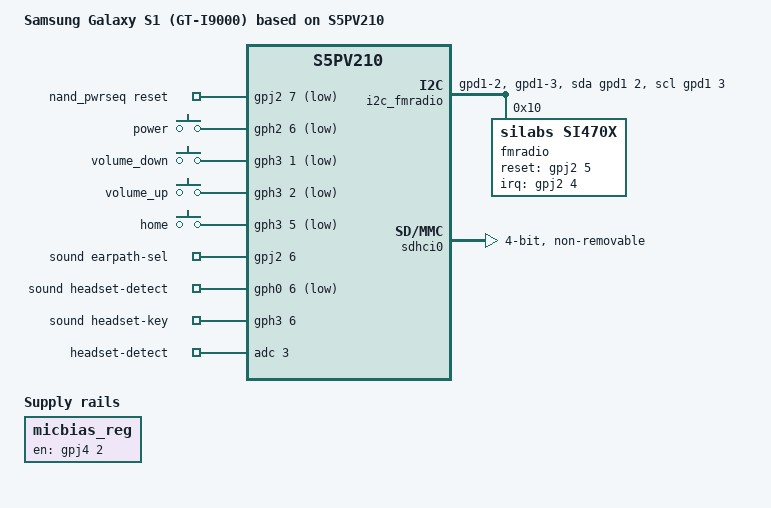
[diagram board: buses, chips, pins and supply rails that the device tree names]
// SPDX-License-Identifier: GPL-2.0

/dts-v1/;
#include <dt-bindings/gpio/gpio.h>
#include <dt-bindings/input/input.h>
#include "s5pv210-aries.dtsi"

/ {
	model = "Samsung Galaxy S1 (GT-I9000) based on S5PV210";
	compatible = "samsung,galaxys", "samsung,aries", "samsung,s5pv210";
	chassis-type = "handset";

	chosen {
		stdout-path = &uart2;
	};

	nand_pwrseq: nand-pwrseq {
		compatible = "mmc-pwrseq-simple";
		reset-gpios = <&gpj2 7 GPIO_ACTIVE_LOW>;
		pinctrl-names = "default";
		pinctrl-0 = <&massmemory_en>;
	};

	gpio-keys {
		compatible = "gpio-keys";

		key-power {
			label = "power";
			gpios = <&gph2 6 GPIO_ACTIVE_LOW>;
			linux,code = <KEY_POWER>;
			wakeup-source;
		};

		key-vol-down {
			label = "volume_down";
			gpios = <&gph3 1 GPIO_ACTIVE_LOW>;
			linux,code = <KEY_VOLUMEDOWN>;
		};

		key-vol-up {
			label = "volume_up";
			gpios = <&gph3 2 GPIO_ACTIVE_LOW>;
			linux,code = <KEY_VOLUMEUP>;
		};

		key-home {
			label = "home";
			gpios = <&gph3 5 GPIO_ACTIVE_LOW>;
			linux,code = <KEY_HOME>;
			wakeup-source;
		};
	};

	i2c_fmradio: i2c-gpio-8 {
		compatible = "i2c-gpio";
		sda-gpios = <&gpd1 2 (GPIO_ACTIVE_HIGH | GPIO_OPEN_DRAIN)>;
		scl-gpios = <&gpd1 3 (GPIO_ACTIVE_HIGH | GPIO_OPEN_DRAIN)>;
		i2c-gpio,delay-us = <2>;
		#address-cells = <1>;
		#size-cells = <0>;

		pinctrl-names = "default";
		pinctrl-0 = <&fm_i2c_pins>;

		fmradio@10 {
			compatible = "silabs,si470x";
			reg = <0x10>;
			interrupt-parent = <&gpj2>;
			interrupts = <4 IRQ_TYPE_EDGE_FALLING>;
			reset-gpios = <&gpj2 5 GPIO_ACTIVE_HIGH>;

			pinctrl-names = "default";
			pinctrl-0 = <&fm_irq &fm_rst>;
		};
	};

	micbias_reg: regulator-fixed-3 {
		compatible = "regulator-fixed";
		regulator-name = "MICBIAS";
		gpio = <&gpj4 2 GPIO_ACTIVE_HIGH>;
		enable-active-high;

		pinctrl-names = "default";
		pinctrl-0 = <&micbias_reg_ena>;
	};

	sound {
		compatible = "samsung,aries-wm8994";

		model = "Aries";

		extcon = <&fsa9480>;

		main-micbias-supply = <&micbias_reg>;
		headset-micbias-supply = <&micbias_reg>;

		earpath-sel-gpios = <&gpj2 6 GPIO_ACTIVE_HIGH>;

		io-channels = <&adc 3>;
		io-channel-names = "headset-detect";
		headset-detect-gpios = <&gph0 6 GPIO_ACTIVE_LOW>;
		headset-key-gpios = <&gph3 6 GPIO_ACTIVE_HIGH>;

		samsung,audio-routing =
			"HP", "HPOUT1L",
			"HP", "HPOUT1R",

			"SPK", "SPKOUTLN",
			"SPK", "SPKOUTLP",

			"RCV", "HPOUT2N",
			"RCV", "HPOUT2P",

			"LINE", "LINEOUT2N",
			"LINE", "LINEOUT2P",

			"IN1LP", "Main Mic",
			"IN1LN", "Main Mic",

			"IN1RP", "Headset Mic",
			"IN1RN", "Headset Mic",

			"IN2LN", "FM In",
			"IN2RN", "FM In",

			"Modem Out", "Modem TX",
			"Modem RX", "Modem In",

			"Bluetooth SPK", "TX",
			"RX", "Bluetooth Mic";

		pinctrl-names = "default";
		pinctrl-0 = <&headset_det &earpath_sel>;

		cpu {
			sound-dai = <&i2s0>, <&bt_codec>;
		};

		codec {
			sound-dai = <&wm8994>;
		};
	};
};

&aliases {
	i2c8 = &i2c_fmradio;
};

&pinctrl0 {
	pinctrl-names = "default";
	pinctrl-0 = <&sleep_cfg>;

	fm_i2c_pins: fm-i2c-pins-pins {
		samsung,pins = "gpd1-2", "gpd1-3";
		samsung,pin-pud = <S5PV210_PIN_PULL_NONE>;
		samsung,pin-drv = <S5PV210_PIN_DRV_LV1>;
	};

	headset_det: headset-det-pins {
		samsung,pins = "gph0-6", "gph3-6";
		samsung,pin-function = <S5PV210_PIN_FUNC_F>;
		samsung,pin-pud = <S5PV210_PIN_PULL_NONE>;
	};

	fm_irq: fm-irq-pins {
		samsung,pins = "gpj2-4";
		samsung,pin-function = <S5PV210_PIN_FUNC_INPUT>;
		samsung,pin-pud = <S5PV210_PIN_PULL_UP>;
		samsung,pin-drv = <S5PV210_PIN_DRV_LV1>;
	};

	fm_rst: fm-rst-pins {
		samsung,pins = "gpj2-5";
		samsung,pin-function = <S5PV210_PIN_FUNC_OUTPUT>;
		samsung,pin-pud = <S5PV210_PIN_PULL_NONE>;
		samsung,pin-drv = <S5PV210_PIN_DRV_LV1>;
	};

	earpath_sel: earpath-sel-pins {
		samsung,pins = "gpj2-6";
		samsung,pin-pud = <S5PV210_PIN_PULL_NONE>;
		samsung,pin-drv = <S5PV210_PIN_DRV_LV1>;
	};

	massmemory_en: massmemory-en-pins {
		samsung,pins = "gpj2-7";
		samsung,pin-function = <S5PV210_PIN_FUNC_OUTPUT>;
		samsung,pin-pud = <S5PV210_PIN_PULL_NONE>;
		samsung,pin-drv = <S5PV210_PIN_DRV_LV1>;
	};

	micbias_reg_ena: micbias-reg-ena-pins {
		samsung,pins = "gpj4-2";
		samsung,pin-pud = <S5PV210_PIN_PULL_NONE>;
		samsung,pin-drv = <S5PV210_PIN_DRV_LV1>;
	};

	/* Based on CyanogenMod 3.0.101 kernel */
	sleep_cfg: sleep-state {
		PIN_SLP(gpa0-0, PREV, NONE);
		PIN_SLP(gpa0-1, PREV, NONE);
		PIN_SLP(gpa0-2, PREV, NONE);
		PIN_SLP(gpa0-3, OUT1, NONE);
		PIN_SLP(gpa0-4, INPUT, DOWN);
		PIN_SLP(gpa0-5, OUT0, NONE);
		PIN_SLP(gpa0-6, INPUT, DOWN);
		PIN_SLP(gpa0-7, OUT1, NONE);

		PIN_SLP(gpa1-0, INPUT, DOWN);
		PIN_SLP(gpa1-1, OUT0, NONE);
		PIN_SLP(gpa1-2, INPUT, NONE);
		PIN_SLP(gpa1-3, OUT0, NONE);

		PIN_SLP(gpb-0, OUT0, NONE);
		PIN_SLP(gpb-1, OUT1, NONE);
		PIN_SLP(gpb-2, OUT0, NONE);
		PIN_SLP(gpb-3, PREV, NONE);
		PIN_SLP(gpb-4, INPUT, NONE);
		PIN_SLP(gpb-5, PREV, NONE);
		PIN_SLP(gpb-6, INPUT, DOWN);
		PIN_SLP(gpb-7, OUT0, NONE);

		PIN_SLP(gpc0-0, OUT0, NONE);
		PIN_SLP(gpc0-1, INPUT, DOWN);
		PIN_SLP(gpc0-2, OUT0, NONE);
		PIN_SLP(gpc0-3, INPUT, NONE);
		PIN_SLP(gpc0-4, OUT0, NONE);

		PIN_SLP(gpc1-0, INPUT, DOWN);
		PIN_SLP(gpc1-1, INPUT, DOWN);
		PIN_SLP(gpc1-2, INPUT, DOWN);
		PIN_SLP(gpc1-3, INPUT, DOWN);
		PIN_SLP(gpc1-4, INPUT, DOWN);

		PIN_SLP(gpd0-0, INPUT, DOWN);
		PIN_SLP(gpd0-1, OUT0, NONE);
		PIN_SLP(gpd0-2, INPUT, DOWN);
		PIN_SLP(gpd0-3, INPUT, DOWN);

		PIN_SLP(gpd1-0, INPUT, NONE);
		PIN_SLP(gpd1-1, INPUT, NONE);
		PIN_SLP(gpd1-2, INPUT, NONE);
		PIN_SLP(gpd1-3, INPUT, NONE);
		PIN_SLP(gpd1-4, INPUT, DOWN);
		PIN_SLP(gpd1-5, INPUT, DOWN);

		PIN_SLP(gpe0-0, INPUT, DOWN);
		PIN_SLP(gpe0-1, INPUT, DOWN);
		PIN_SLP(gpe0-2, INPUT, DOWN);
		PIN_SLP(gpe0-3, INPUT, DOWN);
		PIN_SLP(gpe0-4, INPUT, DOWN);
		PIN_SLP(gpe0-5, INPUT, DOWN);
		PIN_SLP(gpe0-6, INPUT, DOWN);
		PIN_SLP(gpe0-7, INPUT, DOWN);

		PIN_SLP(gpe1-0, INPUT, DOWN);
		PIN_SLP(gpe1-1, INPUT, DOWN);
		PIN_SLP(gpe1-2, INPUT, DOWN);
		PIN_SLP(gpe1-3, OUT0, NONE);
		PIN_SLP(gpe1-4, INPUT, DOWN);

		PIN_SLP(gpf0-0, OUT0, NONE);
		PIN_SLP(gpf0-1, OUT0, NONE);
		PIN_SLP(gpf0-2, OUT0, NONE);
		PIN_SLP(gpf0-3, OUT0, NONE);
		PIN_SLP(gpf0-4, OUT0, NONE);
		PIN_SLP(gpf0-5, OUT0, NONE);
		PIN_SLP(gpf0-6, OUT0, NONE);
		PIN_SLP(gpf0-7, OUT0, NONE);

		PIN_SLP(gpf1-0, OUT0, NONE);
		PIN_SLP(gpf1-1, OUT0, NONE);
		PIN_SLP(gpf1-2, OUT0, NONE);
		PIN_SLP(gpf1-3, OUT0, NONE);
		PIN_SLP(gpf1-4, OUT0, NONE);
		PIN_SLP(gpf1-5, OUT0, NONE);
		PIN_SLP(gpf1-6, OUT0, NONE);
		PIN_SLP(gpf1-7, OUT0, NONE);

		PIN_SLP(gpf2-0, OUT0, NONE);
		PIN_SLP(gpf2-1, OUT0, NONE);
		PIN_SLP(gpf2-2, OUT0, NONE);
		PIN_SLP(gpf2-3, OUT0, NONE);
		PIN_SLP(gpf2-4, OUT0, NONE);
		PIN_SLP(gpf2-5, OUT0, NONE);
		PIN_SLP(gpf2-6, OUT0, NONE);
		PIN_SLP(gpf2-7, OUT0, NONE);

		PIN_SLP(gpf3-0, OUT0, NONE);
		PIN_SLP(gpf3-1, OUT0, NONE);
		PIN_SLP(gpf3-2, OUT0, NONE);
		PIN_SLP(gpf3-3, OUT0, NONE);
		PIN_SLP(gpf3-4, PREV, NONE);
		PIN_SLP(gpf3-5, INPUT, DOWN);

		PIN_SLP(gpg0-0, OUT0, NONE);
		PIN_SLP(gpg0-1, INPUT, NONE);
		PIN_SLP(gpg0-2, INPUT, NONE);
		PIN_SLP(gpg0-3, INPUT, NONE);
		PIN_SLP(gpg0-4, INPUT, NONE);
		PIN_SLP(gpg0-5, INPUT, NONE);
		PIN_SLP(gpg0-6, INPUT, NONE);

		PIN_SLP(gpg1-0, OUT0, NONE);
		PIN_SLP(gpg1-1, OUT1, NONE);
		PIN_SLP(gpg1-2, PREV, NONE);
		PIN_SLP(gpg1-3, OUT1, NONE);
		PIN_SLP(gpg1-4, OUT1, NONE);
		PIN_SLP(gpg1-5, OUT1, NONE);
		PIN_SLP(gpg1-6, OUT1, NONE);

		PIN_SLP(gpg2-0, OUT0, NONE);
		PIN_SLP(gpg2-1, OUT0, NONE);
		PIN_SLP(gpg2-2, INPUT, NONE);
		PIN_SLP(gpg2-3, OUT0, NONE);
		PIN_SLP(gpg2-4, OUT0, NONE);
		PIN_SLP(gpg2-5, OUT0, NONE);
		PIN_SLP(gpg2-6, OUT0, NONE);

		PIN_SLP(gpg3-0, OUT1, NONE);
		PIN_SLP(gpg3-1, OUT0, NONE);
		PIN_SLP(gpg3-2, INPUT, NONE);
		PIN_SLP(gpg3-3, INPUT, DOWN);
		PIN_SLP(gpg3-4, OUT0, NONE);
		PIN_SLP(gpg3-5, OUT0, NONE);
		PIN_SLP(gpg3-6, INPUT, DOWN);

		PIN_SLP(gpi-0, PREV, NONE);
		PIN_SLP(gpi-1, INPUT, DOWN);
		PIN_SLP(gpi-2, PREV, NONE);
		PIN_SLP(gpi-3, PREV, NONE);
		PIN_SLP(gpi-4, PREV, NONE);
		PIN_SLP(gpi-5, INPUT, DOWN);
		PIN_SLP(gpi-6, INPUT, DOWN);

		PIN_SLP(gpj0-0, INPUT, NONE);
		PIN_SLP(gpj0-1, INPUT, NONE);
		PIN_SLP(gpj0-2, INPUT, NONE);
		PIN_SLP(gpj0-3, INPUT, NONE);
		PIN_SLP(gpj0-4, INPUT, NONE);
		PIN_SLP(gpj0-5, INPUT, DOWN);
		PIN_SLP(gpj0-6, OUT0, NONE);
		PIN_SLP(gpj0-7, INPUT, NONE);

		PIN_SLP(gpj1-0, INPUT, DOWN);
		PIN_SLP(gpj1-1, OUT0, NONE);
		PIN_SLP(gpj1-2, INPUT, DOWN);
		PIN_SLP(gpj1-3, PREV, NONE);
		PIN_SLP(gpj1-4, PREV, NONE);
		PIN_SLP(gpj1-5, OUT0, NONE);

		PIN_SLP(gpj2-0, INPUT, DOWN);
		PIN_SLP(gpj2-1, INPUT, DOWN);
		PIN_SLP(gpj2-2, OUT0, NONE);
		PIN_SLP(gpj2-3, INPUT, DOWN);
		PIN_SLP(gpj2-4, INPUT, UP);
		PIN_SLP(gpj2-5, PREV, NONE);
		PIN_SLP(gpj2-6, PREV, NONE);
		PIN_SLP(gpj2-7, OUT1, NONE);

		PIN_SLP(gpj3-0, INPUT, NONE);
		PIN_SLP(gpj3-1, INPUT, NONE);
		PIN_SLP(gpj3-2, OUT0, NONE);
		PIN_SLP(gpj3-3, INPUT, DOWN);
		PIN_SLP(gpj3-4, INPUT, NONE);
		PIN_SLP(gpj3-5, INPUT, NONE);
		PIN_SLP(gpj3-6, INPUT, NONE);
		PIN_SLP(gpj3-7, INPUT, NONE);

		PIN_SLP(gpj4-0, INPUT, NONE);
		PIN_SLP(gpj4-1, INPUT, DOWN);
		PIN_SLP(gpj4-2, PREV, NONE);
		PIN_SLP(gpj4-3, INPUT, NONE);
		PIN_SLP(gpj4-4, INPUT, DOWN);

		PIN_SLP(mp01-0, INPUT, DOWN);
		PIN_SLP(mp01-1, OUT0, NONE);
		PIN_SLP(mp01-2, INPUT, DOWN);
		PIN_SLP(mp01-3, INPUT, DOWN);
		PIN_SLP(mp01-4, OUT1, NONE);
		PIN_SLP(mp01-5, INPUT, DOWN);
		PIN_SLP(mp01-6, INPUT, DOWN);
		PIN_SLP(mp01-7, INPUT, DOWN);

		PIN_SLP(mp02-0, INPUT, DOWN);
		PIN_SLP(mp02-1, INPUT, DOWN);
		PIN_SLP(mp02-2, INPUT, NONE);
		PIN_SLP(mp02-3, INPUT, DOWN);

		PIN_SLP(mp03-0, INPUT, DOWN);
		PIN_SLP(mp03-1, INPUT, DOWN);
		PIN_SLP(mp03-2, OUT1, NONE);
		PIN_SLP(mp03-3, OUT0, NONE);
		PIN_SLP(mp03-4, INPUT, NONE);
		PIN_SLP(mp03-5, OUT1, NONE);
		PIN_SLP(mp03-6, INPUT, DOWN);
		PIN_SLP(mp03-7, INPUT, DOWN);

		PIN_SLP(mp04-0, INPUT, DOWN);
		PIN_SLP(mp04-1, OUT0, NONE);
		PIN_SLP(mp04-2, INPUT, DOWN);
		PIN_SLP(mp04-3, OUT0, NONE);
		PIN_SLP(mp04-4, INPUT, DOWN);
		PIN_SLP(mp04-5, INPUT, DOWN);
		PIN_SLP(mp04-6, OUT0, NONE);
		PIN_SLP(mp04-7, INPUT, DOWN);

		PIN_SLP(mp05-0, INPUT, NONE);
		PIN_SLP(mp05-1, INPUT, NONE);
		PIN_SLP(mp05-2, INPUT, NONE);
		PIN_SLP(mp05-3, INPUT, NONE);
		PIN_SLP(mp05-4, INPUT, DOWN);
		PIN_SLP(mp05-5, OUT0, NONE);
		PIN_SLP(mp05-6, INPUT, DOWN);
		PIN_SLP(mp05-7, PREV, NONE);

		PIN_SLP(mp06-0, INPUT, DOWN);
		PIN_SLP(mp06-1, INPUT, DOWN);
		PIN_SLP(mp06-2, INPUT, DOWN);
		PIN_SLP(mp06-3, INPUT, DOWN);
		PIN_SLP(mp06-4, INPUT, DOWN);
		PIN_SLP(mp06-5, INPUT, DOWN);
		PIN_SLP(mp06-6, INPUT, DOWN);
		PIN_SLP(mp06-7, INPUT, DOWN);

		PIN_SLP(mp07-0, INPUT, DOWN);
		PIN_SLP(mp07-1, INPUT, DOWN);
		PIN_SLP(mp07-2, INPUT, DOWN);
		PIN_SLP(mp07-3, INPUT, DOWN);
		PIN_SLP(mp07-4, INPUT, DOWN);
		PIN_SLP(mp07-5, INPUT, DOWN);
		PIN_SLP(mp07-6, INPUT, DOWN);
		PIN_SLP(mp07-7, INPUT, DOWN);
	};
};

&sdhci0 {
	bus-width = <4>;
	non-removable;
	mmc-pwrseq = <&nand_pwrseq>;
	pinctrl-0 = <&sd0_clk &sd0_cmd &sd0_bus4>;
	pinctrl-names = "default";
	status = "okay";

	assigned-clocks = <&clocks MOUT_MMC0>, <&clocks SCLK_MMC0>;
	assigned-clock-rates = <0>, <52000000>;
	assigned-clock-parents = <&clocks MOUT_MPLL>;
};
